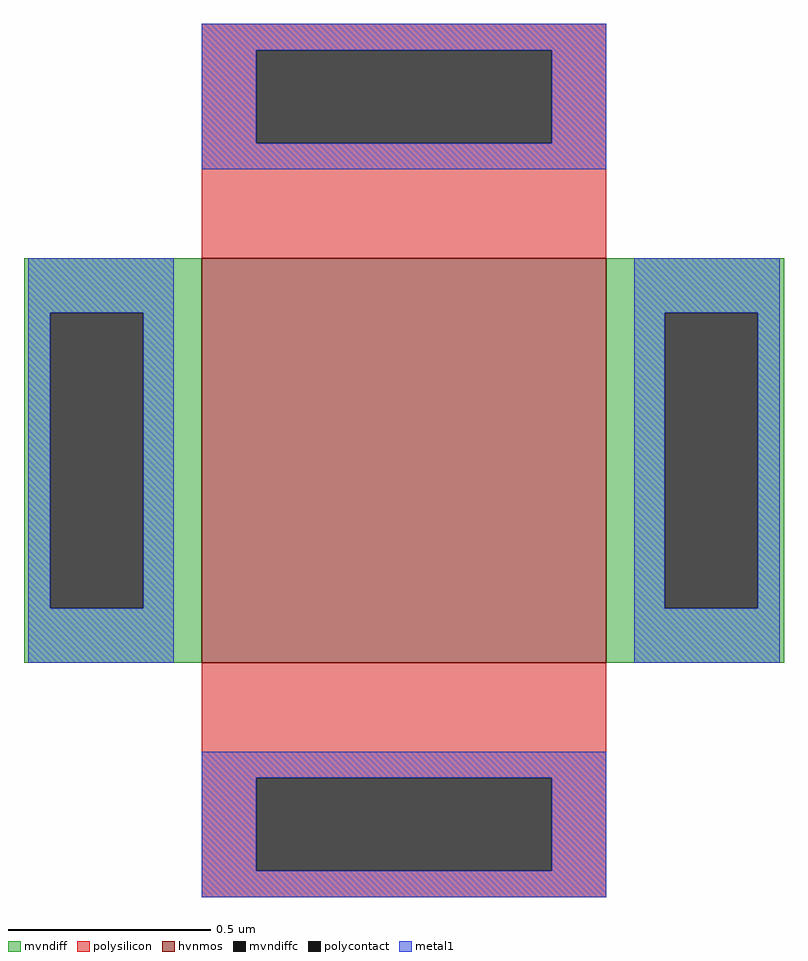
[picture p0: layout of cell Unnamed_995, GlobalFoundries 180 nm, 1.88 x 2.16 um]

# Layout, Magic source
magic
tech gf180mcuD
magscale 1 10
<< hvnmos >>
rect 14 0 214 200
<< mvndiff >>
rect -74 173 14 200
rect -74 27 -61 173
rect -15 27 14 173
rect -74 0 14 27
rect 214 173 302 200
rect 214 27 243 173
rect 289 27 302 173
rect 214 0 302 27
<< mvndiffc >>
rect -61 27 -15 173
rect 243 27 289 173
<< polysilicon >>
rect 14 303 214 316
rect 14 257 41 303
rect 187 257 214 303
rect 14 200 214 257
rect 14 -57 214 0
rect 14 -103 41 -57
rect 187 -103 214 -57
rect 14 -116 214 -103
<< polycontact >>
rect 41 257 187 303
rect 41 -103 187 -57
<< metal1 >>
rect 14 303 214 316
rect 14 257 41 303
rect 187 257 214 303
rect 14 244 214 257
rect -72 173 0 200
rect -72 27 -61 173
rect -15 27 0 173
rect -72 0 0 27
rect 228 173 300 200
rect 228 27 243 173
rect 289 27 300 173
rect 228 0 300 27
rect 14 -57 214 -44
rect 14 -103 41 -57
rect 187 -103 214 -57
rect 14 -116 214 -103
<< end >>
